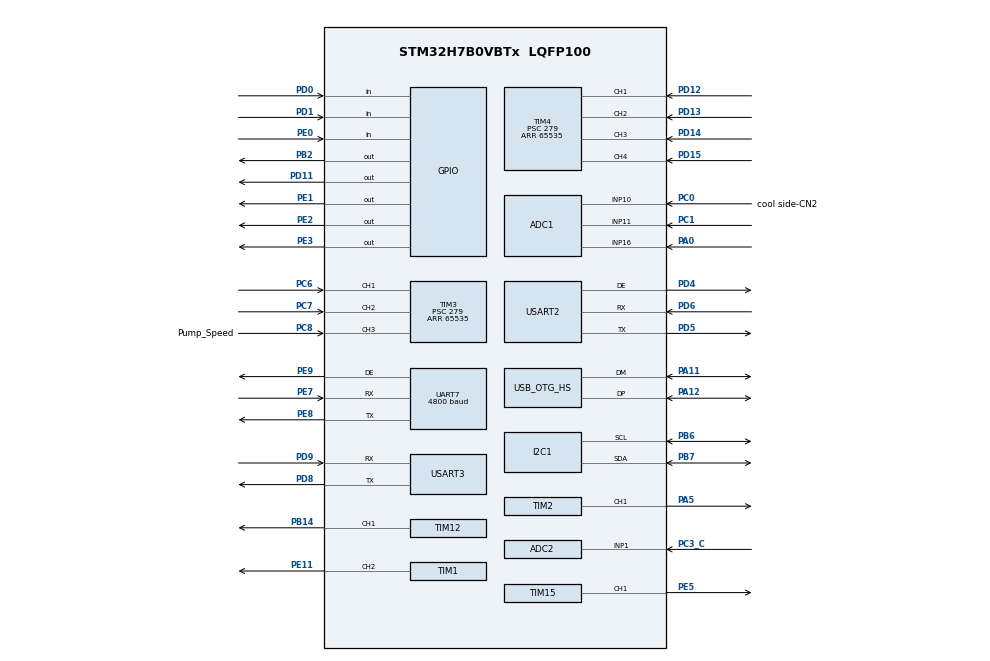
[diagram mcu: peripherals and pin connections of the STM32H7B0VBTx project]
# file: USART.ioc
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ADC1.Channel-0\#ChannelRegularConversion=ADC_CHANNEL_10
ADC1.Channel-1\#ChannelRegularConversion=ADC_CHANNEL_11
ADC1.Channel-2\#ChannelRegularConversion=ADC_CHANNEL_10
ADC1.DiscontinuousConvMode=ENABLE
ADC1.NbrOfConversion=3
ADC1.NbrOfConversionFlag=1
ADC1.OffsetNumber-0\#ChannelRegularConversion=ADC_OFFSET_NONE
ADC1.OffsetNumber-1\#ChannelRegularConversion=ADC_OFFSET_NONE
ADC1.OffsetNumber-2\#ChannelRegularConversion=ADC_OFFSET_NONE
ADC1.OffsetSignedSaturation-0\#ChannelRegularConversion=DISABLE
ADC1.OffsetSignedSaturation-1\#ChannelRegularConversion=DISABLE
ADC1.OffsetSignedSaturation-2\#ChannelRegularConversion=DISABLE
ADC1.Rank-0\#ChannelRegularConversion=1
ADC1.Rank-1\#ChannelRegularConversion=2
ADC1.Rank-2\#ChannelRegularConversion=3
ADC1.SamplingTime-0\#ChannelRegularConversion=ADC_SAMPLETIME_1CYCLE_5
ADC1.SamplingTime-1\#ChannelRegularConversion=ADC_SAMPLETIME_1CYCLE_5
ADC1.SamplingTime-2\#ChannelRegularConversion=ADC_SAMPLETIME_1CYCLE_5
ADC1.master=1
ADC2.Channel-1\#ChannelRegularConversion=ADC_CHANNEL_1
ADC2.NbrOfConversionFlag=1
ADC2.OffsetNumber-1\#ChannelRegularConversion=ADC_OFFSET_NONE
ADC2.OffsetSignedSaturation-1\#ChannelRegularConversion=DISABLE
ADC2.Rank-1\#ChannelRegularConversion=1
ADC2.SamplingTime-1\#ChannelRegularConversion=ADC_SAMPLETIME_1CYCLE_5
I2C1.Timing=0x20B0CCFF
Mcu.Family=STM32H7
Mcu.Name=STM32H7B0VBTx
Mcu.Package=LQFP100
NVIC.OTG_HS_IRQn=true\:0\:0\:false\:false\:true\:true\:true\:true
NVIC.PriorityGroup=NVIC_PRIORITYGROUP_4
NVIC.TIM3_IRQn=true\:1\:0\:true\:false\:true\:true\:true\:true
NVIC.TIM4_IRQn=true\:1\:0\:true\:false\:true\:true\:true\:true
NVIC.TIM5_IRQn=true\:0\:0\:false\:false\:true\:true\:true\:true
NVIC.TIM6_DAC_IRQn=true\:0\:0\:false\:false\:true\:true\:true\:true
NVIC.UART7_IRQn=true\:1\:0\:true\:false\:true\:true\:true\:true
NVIC.USART2_IRQn=true\:0\:0\:false\:false\:true\:true\:true\:true
NVIC.USART3_IRQn=true\:1\:0\:true\:false\:true\:true\:true\:true
PA0.Mode=IN16-Single-Ended
PA0.Signal=ADC1_INP16
PA11.Mode=Device_Only_FS
PA11.Signal=USB_OTG_HS_DM
PA12.Mode=Device_Only_FS
PA12.Signal=USB_OTG_HS_DP
PA13.Mode=Serial_Wire
PA13.Signal=DEBUG_JTMS-SWDIO
PA14.Mode=Serial_Wire
PA14.Signal=DEBUG_JTCK-SWCLK
PA5.Signal=S_TIM2_CH1_ETR
PB14.Signal=S_TIM12_CH1
PB2.GPIO_Speed=GPIO_SPEED_FREQ_VERY_HIGH
PB2.PinState=GPIO_PIN_SET
PB2.Signal=GPIO_Output
PB6.Mode=I2C
PB6.Signal=I2C1_SCL
PB7.Mode=I2C
PB7.Signal=I2C1_SDA
PC0.GPIO_Label=cool side-CN2
PC0.Signal=ADCx_INP10
PC1.Signal=ADCx_INP11
PC3_C.Mode=IN1-Single-Ended
PC3_C.Signal=ADC2_INP1
PC6.Signal=S_TIM3_CH1
PC7.Signal=S_TIM3_CH2
PC8.GPIO_Label=Pump_Speed
PC8.Signal=S_TIM3_CH3
PD0.Signal=GPIO_Input
PD1.Signal=GPIO_Input
PD11.Signal=GPIO_Output
PD12.Signal=S_TIM4_CH1
PD13.Signal=S_TIM4_CH2
PD14.Signal=S_TIM4_CH3
PD15.Signal=S_TIM4_CH4
PD4.Mode=Hardware Flow Control (RS485)
PD4.Signal=USART2_DE
PD5.Mode=Asynchronous
PD5.Signal=USART2_TX
PD6.Mode=Asynchronous
PD6.Signal=USART2_RX
PD8.Mode=Asynchronous
PD8.Signal=USART3_TX
PD9.Mode=Asynchronous
PD9.Signal=USART3_RX
PE0.Signal=GPIO_Input
PE1.Signal=GPIO_Output
PE11.Signal=S_TIM1_CH2
PE2.GPIO_Speed=GPIO_SPEED_FREQ_VERY_HIGH
PE2.PinState=GPIO_PIN_SET
PE2.Signal=GPIO_Output
PE3.Signal=GPIO_Output
PE5.Signal=S_TIM15_CH1
PE7.Mode=Asynchronous
PE7.Signal=UART7_RX
PE8.Mode=Asynchronous
PE8.Signal=UART7_TX
PE9.Mode=Hardware Flow Control (RS485)
PE9.Signal=UART7_DE
PH0-OSC_IN.Mode=HSE-External-Clock-Source
PH0-OSC_IN.Signal=RCC_OSC_IN
ProjectManager.HeapSize=0x200
ProjectManager.StackSize=0x400
ProjectManager.TargetToolchain=MDK-ARM V5.32
RCC.ADCFreq_Value=50000000
RCC.APB1Freq_Value=140000000
RCC.APB2Freq_Value=140000000
RCC.APB3Freq_Value=140000000
RCC.APB4Freq_Value=140000000
RCC.CDPPRE=RCC_APB3_DIV2
RCC.CDPPRE1=RCC_APB1_DIV2
RCC.CDPPRE2=RCC_APB2_DIV2
RCC.CortexFreq_Value=280000000
RCC.DIVM1=3
RCC.DIVM2=3
RCC.DIVM3=3
RCC.DIVN1=70
RCC.DIVN2=25
RCC.DIVN3=70
RCC.DIVP2=4
RCC.HCLKFreq_Value=280000000
RCC.PLL2FRACN=0
RCC.PLLFRACN=0
RCC.PLLSourceVirtual=RCC_PLLSOURCE_HSE
RCC.SRDPPRE=RCC_APB4_DIV2
RCC.SYSCLKFreq_VALUE=280000000
RCC.SYSCLKSource=RCC_SYSCLKSOURCE_PLLCLK
RCC.USBCLockSelection=RCC_USBCLKSOURCE_HSI48
RCC.USBFreq_Value=48000000
SH.ADCx_INP10.0=ADC1_INP10,IN10-Single-Ended
SH.ADCx_INP11.0=ADC1_INP11,IN11-Single-Ended
SH.S_TIM12_CH1.0=TIM12_CH1,PWM Generation1 CH1
SH.S_TIM15_CH1.0=TIM15_CH1,PWM Generation1 CH1
SH.S_TIM1_CH2.0=TIM1_CH2,PWM Generation2 CH2
SH.S_TIM2_CH1_ETR.0=TIM2_CH1,PWM Generation1 CH1
SH.S_TIM3_CH1.0=TIM3_CH1,Input_Capture1_from_TI1
SH.S_TIM3_CH2.0=TIM3_CH2,Input_Capture2_from_TI2
SH.S_TIM3_CH3.0=TIM3_CH3,Input_Capture3_from_TI3
SH.S_TIM4_CH1.0=TIM4_CH1,Input_Capture1_from_TI1
SH.S_TIM4_CH2.0=TIM4_CH2,Input_Capture2_from_TI2
SH.S_TIM4_CH3.0=TIM4_CH3,Input_Capture3_from_TI3
SH.S_TIM4_CH4.0=TIM4_CH4,Input_Capture4_from_TI4
TIM1.Channel-PWM\ Generation2\ CH2=TIM_CHANNEL_2
TIM1.Period=55999
TIM1.Prescaler=49
TIM1.Pulse-PWM\ Generation2\ CH2=100
TIM12.Channel-PWM\ Generation1\ CH1=TIM_CHANNEL_1
TIM12.Period=111
TIM12.Prescaler=99
TIM12.Pulse-PWM\ Generation1\ CH1=56
TIM15.Channel-PWM\ Generation1\ CH1=TIM_CHANNEL_1
TIM15.Period=28000
TIM15.Prescaler=20
TIM15.Pulse-PWM\ Generation1\ CH1=27999
TIM2.Channel-PWM\ Generation1\ CH1=TIM_CHANNEL_1
TIM2.Period=55999
TIM2.Prescaler=49
TIM2.Pulse-PWM\ Generation1\ CH1=100
TIM3.Channel-Input_Capture1_from_TI1=TIM_CHANNEL_1
TIM3.Channel-Input_Capture2_from_TI2=TIM_CHANNEL_2
TIM3.Channel-Input_Capture3_from_TI3=TIM_CHANNEL_3
TIM3.Period=65535
TIM3.Prescaler=279
TIM4.Channel-Input_Capture1_from_TI1=TIM_CHANNEL_1
TIM4.Channel-Input_Capture2_from_TI2=TIM_CHANNEL_2
TIM4.Channel-Input_Capture3_from_TI3=TIM_CHANNEL_3
TIM4.Channel-Input_Capture4_from_TI4=TIM_CHANNEL_4
TIM4.ICFilter_CH2=0
TIM4.Period=65535
TIM4.Prescaler=279
TIM5.AutoReloadPreload=TIM_AUTORELOAD_PRELOAD_ENABLE
TIM5.Period=279
TIM5.Prescaler=999
TIM6.AutoReloadPreload=TIM_AUTORELOAD_PRELOAD_ENABLE
TIM6.Period=10
TIM6.Prescaler=19999
UART7.BaudRate=4800
UART7.StopBits=UART_STOPBITS_2
USART2.VirtualMode-Asynchronous=VM_ASYNC
USART2.VirtualMode-Hardware\ Flow\ Control\ (RS485)=VM_ASYNC
USART3.VirtualMode-Asynchronous=VM_ASYNC
USB_DEVICE.CLASS_NAME_HS=CDC
USB_DEVICE.MANUFACTURER_STRING=ffcom
USB_DEVICE.PID_CDC_HS=0x5740
USB_DEVICE.PRODUCT_STRING_CDC_HS=FFcom
USB_DEVICE.VID=0x483
USB_DEVICE.VirtualMode=Cdc
USB_DEVICE.VirtualModeHS=Cdc_HS
USB_OTG_HS.VirtualMode-Device_Only_FS=Device_Only_FS
VP_TIM3_VS_ClockSourceINT.Mode=Internal
VP_TIM4_VS_ClockSourceINT.Mode=Internal
VP_TIM5_VS_ClockSourceINT.Mode=Internal
VP_TIM6_VS_ClockSourceINT.Mode=Enable_Timer
VP_USB_DEVICE_VS_USB_DEVICE_CDC_HS.Mode=CDC_HS
board=custom

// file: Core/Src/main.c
/* USER CODE BEGIN Header */
/**
  ******************************************************************************
  * @file           : main.c
  * @brief          : Main program body
  ******************************************************************************
  * @attention
  *
  * Copyright (c) 2023 STMicroelectronics.
  * All rights reserved.
  *
  * This software is licensed under terms that can be found in the LICENSE file
  * in the root directory of this software component.
  * If no LICENSE file comes with this software, it is provided AS-IS.
  *
  ******************************************************************************
  */
/* USER CODE END Header */
#include "main.h"
#include "usb_device.h"

/* USER CODE BEGIN Includes */
#include "cooling_ModBus_Protocol.h"
#include "TMS_ModBus_Protocol.h"
#include <stdio.h>
#include "string.h"
#include "stdint.h"
#include "stdarg.h"
/* USER CODE END Includes */

/* USER CODE BEGIN PM */

#if 1 //折叠系统代码
/* USER CODE END PM */

ADC_HandleTypeDef hadc1;
ADC_HandleTypeDef hadc2;

I2C_HandleTypeDef hi2c1;

TIM_HandleTypeDef htim1;
TIM_HandleTypeDef htim2;
TIM_HandleTypeDef htim3;
TIM_HandleTypeDef htim4;
TIM_HandleTypeDef htim5;
TIM_HandleTypeDef htim6;
TIM_HandleTypeDef htim12;
TIM_HandleTypeDef htim15;

UART_HandleTypeDef huart7;
UART_HandleTypeDef huart2;
UART_HandleTypeDef huart3;

/* USER CODE BEGIN PV */
#endif

#if 1 //折叠系统代码
/* USER CODE END PV */

void SystemClock_Config(void);
void PeriphCommonClock_Config(void);
static void MX_GPIO_Init(void);
static void MX_USART2_UART_Init(void);
static void MX_USART3_UART_Init(void);
static void MX_UART7_Init(void);
static void MX_ADC1_Init(void);
static void MX_I2C1_Init(void);
static void MX_TIM4_Init(void);
static void MX_TIM12_Init(void);
static void MX_ADC2_Init(void);
static void MX_TIM1_Init(void);
static void MX_TIM2_Init(void);
static void MX_TIM3_Init(void);
static void MX_TIM5_Init(void);
static void MX_TIM15_Init(void);
static void MX_TIM6_Init(void);
/* USER CODE BEGIN PFP */
#endif

/* USER CODE END PFP */

/* USER CODE BEGIN 0 */
/*USB 重新枚举函数*/
void USB_Reset(void)
{
  GPIO_InitTypeDef GPIO_InitStruct = {0};

  __HAL_RCC_GPIOA_CLK_ENABLE();

  GPIO_InitStruct.Pin = GPIO_PIN_12;
  GPIO_InitStruct.Mode = GPIO_MODE_OUTPUT_PP;
  GPIO_InitStruct.Pull = GPIO_NOPULL;
  GPIO_InitStruct.Speed = GPIO_SPEED_FREQ_LOW;
  HAL_GPIO_Init(GPIOA, &GPIO_InitStruct);

  HAL_GPIO_WritePin(GPIOA,GPIO_PIN_12,GPIO_PIN_RESET);
  HAL_Delay(100);
  HAL_GPIO_WritePin(GPIOA,GPIO_PIN_12,GPIO_PIN_SET);
}

// 串口中断回调
void HAL_UART_RxCpltCallback(UART_HandleTypeDef *huart)
{
  if (huart->Instance == Cooling_Handle->huart->Instance)
  {
    Cooling_Handle->RxCplt();

  }
  if (huart->Instance == TMS_Handle->huart->Instance)
  {
    TMS_Handle->RxCplt();

  }

}

/**
 * @brief  通过设置液冷CMD_Pack的目标温度，用于和液冷控制器真实温度判断是否一致，不一致则执行设置命令
 * @note
 * @param  temperature:
 * @retval None
 */
void SetCoollingTemperature(uint16_t temperature){
  Cooling_Handle->CMD_Pack.CoollingTargetTemp = temperature;
}

/**
 * @brief 将tms控制器中的数据更新到水冷控制器
 *
 *  将TMS的设定温度同步到液冷中
 *
 */
void TMS_Data2coolingData(){
  SetCoollingTemperature(TMS_Handle->targetTemperature * 100);
}
/**
 * @brief 将水冷控制器的数据更新到tms控制器中
 *
 *  当前液冷能提供给tms的只有运行状态、当前温度
 *
 */
void coolingData2TMS_Data(){
  TMS_Handle->TMS_PSD.TMSRunState = (Cooling_Handle->Cooling_PSD.CoolingRunState);
  TMS_Handle->TMS_PSD.TMSHighTempERR = (Cooling_Handle->Cooling_PSD.CoolingTempAlarm);
  TMS_Handle->TMS_PSD.TMSLiquidLevelERR = (Cooling_Handle->Cooling_PSD.CoolingLiquidLevelAlarm);
  TMS_Handle->currentTemperature = (Cooling_Handle->currentTemperature);
	TMS_Handle->modbusDataReloadFlag = 1;//TMS处理数据完成
}

/**
 * @brief 将tms控制器的数据更新到水冷控制器中
 *  配置液冷控制器的目标温度和运行状态，
 *
 */
void TMS_Data2cooling_Data(){
  Cooling_Handle->CMD_Pack.CoollingCMD = TMS_Handle->modbusReport.TMSRunState; // 设置液冷控制器的运行开关
  Cooling_Handle->CMD_Pack.PumpCMD = TMS_Handle->modbusReport.TMSRunState;
  Cooling_Handle->CMD_Pack.PressCMD = TMS_Handle->modbusReport.TMSRunState;
  SetCoollingTemperature(TMS_Handle->targetTemperature * 100); // 设置液冷控制器的运行开关
  printfln("Cooling_Handle->CMD_Pack.CoollingCMD \t=\t %d\r\n"
    "Cooling_Handle->CMD_Pack.PumpCMD \t=\t %d\r\n"
    "Cooling_Handle->CMD_Pack.PressCMD \t=\t %d\r\n"
    "Cooling_Handle->CMD_Pack.CoollingTargetTemp \t=\t %d\r\n"
    ,
    Cooling_Handle->CMD_Pack.CoollingCMD,
    Cooling_Handle->CMD_Pack.PumpCMD,
    Cooling_Handle->CMD_Pack.PressCMD,
    Cooling_Handle->CMD_Pack.CoollingTargetTemp

  );
}

/**
 * @brief 液冷控制器和tms控制器指令交互模块
 *        处理TMS发送来的所有指令，根据指令回复相应的数据，并设置水冷的具体控制内容
 *        处理完一次任务后清空控制标志，等待新任务。
 *
 */
void cooling_CMDfun(){
  switch (TMS_Handle->CMDCode){
    // 接收到停机指令，向水冷发送停机指令
    case CoolingCMDStop:
      printfln("CoolingCMDStop");
      Cooling_Handle->CMD_Pack.CoollingCMD = 0;
      Cooling_Handle->CMD_Pack.PumpCMD = 0;
      Cooling_Handle->CMD_Pack.PressCMD = 0;
      Cooling_Handle->CoolingWorkStatus = Cooling_CHECK_RunState;
      TMS_Handle->CMDCode = CoolingWait;
    break;

    // 接收到开机指令，向水冷发送开机指令
    case CoolingCMDStart:
      printfln("CoolingCMDStart");
      Cooling_Handle->CMD_Pack.CoollingCMD = 1;
      Cooling_Handle->CMD_Pack.PumpCMD = 1;
      Cooling_Handle->CMD_Pack.PressCMD = 1;
      Cooling_Handle->CoolingWorkStatus = Cooling_CHECK_RunState;

      TMS_Handle->CMDCode = CoolingWait;

    break;

    // 接收到设置温度指令，向水冷发送设置温度指令
    case CoolingSetTemp:
      printfln("CoolingSetTemp");
      SetCoollingTemperature(TMS_Handle->targetTemperature * 100);
      Cooling_Handle->CoolingWorkStatus = Cooling_SET_TEMP;
      TMS_Handle->CMDCode = CoolingWait;

    break;

    // 接收到获取信息指令，将水冷信息回传给TMS
    case CoolingGetData:
      printfln("CoolingGetData");
      TMS_Handle->reportAll();
      TMS_Handle->CMDCode = CoolingWait;

    break;

		// 接收到停止液泵指令
    case CoolingPumpStop:
      printfln("CoolingPumpStop");
      Cooling_Handle->CMD_Pack.PumpCMD = 0;
      TMS_Handle->CMDCode = CoolingWait;

    break;

		// 接收到启动液泵指令，
    case CoolingPumpStart:
      printfln("CoolingPumpStart");
      Cooling_Handle->CMD_Pack.PumpCMD = 1;

      TMS_Handle->CMDCode = CoolingWait;

    break;

		// 接收到停止压缩机指令
    case CoolingCompressorStop:
      printfln("CoolingCompressorStop");
      Cooling_Handle->CMD_Pack.PressCMD = 0;

      TMS_Handle->CMDCode = CoolingWait;

    break;

		// 接收到启动压缩机指令
    case CoolingCompressorStart:
      printfln("CoolingCompressorStart");
      Cooling_Handle->CMD_Pack.PressCMD = 1;

      TMS_Handle->CMDCode = CoolingWait;

    break;

    /**
     * @brief  接收设置所有寄存器指令
     * @todo 液冷状态应该由液冷控制器决定，而不是外部直接设定
     */
    case CoolingSetAll:
      printfln("CoolingSetAll");
      TMS_Data2cooling_Data();  // 根据TMS控制器的数据状态更新液冷控制器的对应寄存器
      Cooling_Handle->CoolingWorkStatus = Cooling_GET_STATE;
      TMS_Handle->CMDCode = CoolingWait;
    break;

		case CoolingWait:
    default:
      // TMS_Handle->CMDCode = CoolingWait;
    break;

  }
}

/* USER CODE END 0 */

int main(void)
{

  /* MCU Configuration--------------------------------------------------------*/

  /* Reset of all peripherals, Initializes the Flash interface and the Systick. */
  HAL_Init();

  /* Configure the system clock */
  SystemClock_Config();

/* Configure the peripherals common clocks */
  PeriphCommonClock_Config();

  /* USER CODE BEGIN SysInit */
  USB_Reset();

  #if 1 //折叠系统代码
  /* USER CODE END SysInit */

  /* Initialize all configured peripherals */
  MX_GPIO_Init();
  MX_USART2_UART_Init();
  MX_USART3_UART_Init();
  MX_UART7_Init();
  MX_ADC1_Init();
  MX_I2C1_Init();
  MX_TIM4_Init();
  MX_TIM12_Init();
  MX_ADC2_Init();
  MX_TIM1_Init();
  MX_TIM2_Init();
  MX_TIM3_Init();
  MX_TIM5_Init();
  MX_TIM15_Init();
  MX_USB_DEVICE_Init();
  MX_TIM6_Init();
  /* USER CODE BEGIN 2 */
  #endif

  CoolingCreate(&huart7);
  TMSCreate(&huart2);
  /* USER CODE END 2 */

  /* Infinite loop */
  /* USER CODE BEGIN WHILE */
  HAL_TIM_Base_Start_IT(&htim6);
  HAL_Delay(1);
  uint16_t counter = 0;
  while (1)
  {
    if (counter++ % 1000==0){
      cooling_CMDfun();
      coolingData2TMS_Data();
      TMS_Data2coolingData();

    }

    /* USER CODE END WHILE */

  }
}

void SystemClock_Config(void)
{
  RCC_OscInitTypeDef RCC_OscInitStruct = {0};
  RCC_ClkInitTypeDef RCC_ClkInitStruct = {0};

  /*AXI clock gating */
  RCC->CKGAENR = 0xFFFFFFFF;

  /** Supply configuration update enable
  */
  HAL_PWREx_ConfigSupply(PWR_LDO_SUPPLY);

  /** Configure the main internal regulator output voltage
  */
  __HAL_PWR_VOLTAGESCALING_CONFIG(PWR_REGULATOR_VOLTAGE_SCALE0);

  while(!__HAL_PWR_GET_FLAG(PWR_FLAG_VOSRDY)) {}

  /** Initializes the RCC Oscillators according to the specified parameters
  * in the RCC_OscInitTypeDef structure.
  */
  RCC_OscInitStruct.OscillatorType = RCC_OSCILLATORTYPE_HSI48|RCC_OSCILLATORTYPE_HSE;
  RCC_OscInitStruct.HSEState = RCC_HSE_BYPASS;
  RCC_OscInitStruct.HSI48State = RCC_HSI48_ON;
  RCC_OscInitStruct.PLL.PLLState = RCC_PLL_ON;
  RCC_OscInitStruct.PLL.PLLSource = RCC_PLLSOURCE_HSE;
  RCC_OscInitStruct.PLL.PLLM = 3;
  RCC_OscInitStruct.PLL.PLLN = 70;
  RCC_OscInitStruct.PLL.PLLP = 2;
  RCC_OscInitStruct.PLL.PLLQ = 2;
  RCC_OscInitStruct.PLL.PLLR = 2;
  RCC_OscInitStruct.PLL.PLLRGE = RCC_PLL1VCIRANGE_3;
  RCC_OscInitStruct.PLL.PLLVCOSEL = RCC_PLL1VCOWIDE;
  RCC_OscInitStruct.PLL.PLLFRACN = 0;
  if (HAL_RCC_OscConfig(&RCC_OscInitStruct) != HAL_OK)
  {
    Error_Handler();
  }

  /** Initializes the CPU, AHB and APB buses clocks
  */
  RCC_ClkInitStruct.ClockType = RCC_CLOCKTYPE_HCLK|RCC_CLOCKTYPE_SYSCLK
                              |RCC_CLOCKTYPE_PCLK1|RCC_CLOCKTYPE_PCLK2
                              |RCC_CLOCKTYPE_D3PCLK1|RCC_CLOCKTYPE_D1PCLK1;
  RCC_ClkInitStruct.SYSCLKSource = RCC_SYSCLKSOURCE_PLLCLK;
  RCC_ClkInitStruct.SYSCLKDivider = RCC_SYSCLK_DIV1;
  RCC_ClkInitStruct.AHBCLKDivider = RCC_HCLK_DIV1;
  RCC_ClkInitStruct.APB3CLKDivider = RCC_APB3_DIV2;
  RCC_ClkInitStruct.APB1CLKDivider = RCC_APB1_DIV2;
  RCC_ClkInitStruct.APB2CLKDivider = RCC_APB2_DIV2;
  RCC_ClkInitStruct.APB4CLKDivider = RCC_APB4_DIV2;

  if (HAL_RCC_ClockConfig(&RCC_ClkInitStruct, FLASH_LATENCY_7) != HAL_OK)
  {
    Error_Handler();
  }
}

void PeriphCommonClock_Config(void)
{
  RCC_PeriphCLKInitTypeDef PeriphClkInitStruct = {0};

  /** Initializes the peripherals clock
  */
  PeriphClkInitStruct.PeriphClockSelection = RCC_PERIPHCLK_ADC;
  PeriphClkInitStruct.PLL2.PLL2M = 3;
  PeriphClkInitStruct.PLL2.PLL2N = 25;
  PeriphClkInitStruct.PLL2.PLL2P = 4;
  PeriphClkInitStruct.PLL2.PLL2Q = 2;
  PeriphClkInitStruct.PLL2.PLL2R = 2;
  PeriphClkInitStruct.PLL2.PLL2RGE = RCC_PLL2VCIRANGE_3;
  PeriphClkInitStruct.PLL2.PLL2VCOSEL = RCC_PLL2VCOWIDE;
  PeriphClkInitStruct.PLL2.PLL2FRACN = 0;
  PeriphClkInitStruct.AdcClockSelection = RCC_ADCCLKSOURCE_PLL2;
  if (HAL_RCCEx_PeriphCLKConfig(&PeriphClkInitStruct) != HAL_OK)
  {
    Error_Handler();
  }
}

static void MX_ADC1_Init(void)
{

  ADC_MultiModeTypeDef multimode = {0};
  ADC_ChannelConfTypeDef sConfig = {0};

  /** Common config
  */
  hadc1.Instance = ADC1;
  hadc1.Init.ClockPrescaler = ADC_CLOCK_ASYNC_DIV1;
  hadc1.Init.Resolution = ADC_RESOLUTION_16B;
  hadc1.Init.ScanConvMode = ADC_SCAN_ENABLE;
  hadc1.Init.EOCSelection = ADC_EOC_SINGLE_CONV;
  hadc1.Init.LowPowerAutoWait = DISABLE;
  hadc1.Init.ContinuousConvMode = DISABLE;
  hadc1.Init.NbrOfConversion = 3;
  hadc1.Init.DiscontinuousConvMode = ENABLE;
  hadc1.Init.NbrOfDiscConversion = 1;
  hadc1.Init.ExternalTrigConv = ADC_SOFTWARE_START;
  hadc1.Init.ExternalTrigConvEdge = ADC_EXTERNALTRIGCONVEDGE_NONE;
  hadc1.Init.ConversionDataManagement = ADC_CONVERSIONDATA_DR;
  hadc1.Init.Overrun = ADC_OVR_DATA_PRESERVED;
  hadc1.Init.LeftBitShift = ADC_LEFTBITSHIFT_NONE;
  hadc1.Init.OversamplingMode = DISABLE;
  if (HAL_ADC_Init(&hadc1) != HAL_OK)
  {
    Error_Handler();
  }

  /** Configure the ADC multi-mode
  */
  multimode.Mode = ADC_MODE_INDEPENDENT;
  if (HAL_ADCEx_MultiModeConfigChannel(&hadc1, &multimode) != HAL_OK)
  {
    Error_Handler();
  }

  /** Configure Regular Channel
  */
  sConfig.Channel = ADC_CHANNEL_10;
  sConfig.Rank = ADC_REGULAR_RANK_1;
  sConfig.SamplingTime = ADC_SAMPLETIME_1CYCLE_5;
  sConfig.SingleDiff = ADC_SINGLE_ENDED;
  sConfig.OffsetNumber = ADC_OFFSET_NONE;
  sConfig.Offset = 0;
  sConfig.OffsetSignedSaturation = DISABLE;
  if (HAL_ADC_ConfigChannel(&hadc1, &sConfig) != HAL_OK)
  {
    Error_Handler();
  }

  /** Configure Regular Channel
  */
  sConfig.Channel = ADC_CHANNEL_11;
  sConfig.Rank = ADC_REGULAR_RANK_2;
  if (HAL_ADC_ConfigChannel(&hadc1, &sConfig) != HAL_OK)
  {
    Error_Handler();
  }

  /** Configure Regular Channel
  */
  sConfig.Channel = ADC_CHANNEL_10;
  sConfig.Rank = ADC_REGULAR_RANK_3;
  if (HAL_ADC_ConfigChannel(&hadc1, &sConfig) != HAL_OK)
  {
    Error_Handler();
  }

}

static void MX_ADC2_Init(void)
{

  ADC_ChannelConfTypeDef sConfig = {0};

  /** Common config
  */
  hadc2.Instance = ADC2;
  hadc2.Init.ClockPrescaler = ADC_CLOCK_ASYNC_DIV1;
  hadc2.Init.Resolution = ADC_RESOLUTION_16B;
  hadc2.Init.ScanConvMode = ADC_SCAN_DISABLE;
  hadc2.Init.EOCSelection = ADC_EOC_SINGLE_CONV;
  hadc2.Init.LowPowerAutoWait = DISABLE;
  hadc2.Init.ContinuousConvMode = DISABLE;
  hadc2.Init.NbrOfConversion = 1;
  hadc2.Init.DiscontinuousConvMode = DISABLE;
  hadc2.Init.ExternalTrigConv = ADC_SOFTWARE_START;
  hadc2.Init.ExternalTrigConvEdge = ADC_EXTERNALTRIGCONVEDGE_NONE;
  hadc2.Init.ConversionDataManagement = ADC_CONVERSIONDATA_DR;
  hadc2.Init.Overrun = ADC_OVR_DATA_PRESERVED;
  hadc2.Init.LeftBitShift = ADC_LEFTBITSHIFT_NONE;
  hadc2.Init.OversamplingMode = DISABLE;
  if (HAL_ADC_Init(&hadc2) != HAL_OK)
  {
    Error_Handler();
  }

  /** Configure Regular Channel
  */
  sConfig.Channel = ADC_CHANNEL_1;
  sConfig.Rank = ADC_REGULAR_RANK_1;
  sConfig.SamplingTime = ADC_SAMPLETIME_1CYCLE_5;
  sConfig.SingleDiff = ADC_SINGLE_ENDED;
  sConfig.OffsetNumber = ADC_OFFSET_NONE;
  sConfig.Offset = 0;
  sConfig.OffsetSignedSaturation = DISABLE;
  if (HAL_ADC_ConfigChannel(&hadc2, &sConfig) != HAL_OK)
  {
    Error_Handler();
  }

}

static void MX_I2C1_Init(void)
{

  hi2c1.Instance = I2C1;
  hi2c1.Init.Timing = 0x20B0CCFF;
  hi2c1.Init.OwnAddress1 = 0;
  hi2c1.Init.AddressingMode = I2C_ADDRESSINGMODE_7BIT;
  hi2c1.Init.DualAddressMode = I2C_DUALADDRESS_DISABLE;
  hi2c1.Init.OwnAddress2 = 0;
  hi2c1.Init.OwnAddress2Masks = I2C_OA2_NOMASK;
  hi2c1.Init.GeneralCallMode = I2C_GENERALCALL_DISABLE;
  hi2c1.Init.NoStretchMode = I2C_NOSTRETCH_DISABLE;
  if (HAL_I2C_Init(&hi2c1) != HAL_OK)
  {
    Error_Handler();
  }

  /** Configure Analogue filter
  */
  if (HAL_I2CEx_ConfigAnalogFilter(&hi2c1, I2C_ANALOGFILTER_ENABLE) != HAL_OK)
  {
    Error_Handler();
  }

  /** Configure Digital filter
  */
  if (HAL_I2CEx_ConfigDigitalFilter(&hi2c1, 0) != HAL_OK)
  {
    Error_Handler();
  }

}

static void MX_TIM1_Init(void)
{

  TIM_MasterConfigTypeDef sMasterConfig = {0};
  TIM_OC_InitTypeDef sConfigOC = {0};
  TIM_BreakDeadTimeConfigTypeDef sBreakDeadTimeConfig = {0};

  htim1.Instance = TIM1;
  htim1.Init.Prescaler = 49;
  htim1.Init.CounterMode = TIM_COUNTERMODE_UP;
  htim1.Init.Period = 55999;
  htim1.Init.ClockDivision = TIM_CLOCKDIVISION_DIV1;
  htim1.Init.RepetitionCounter = 0;
  htim1.Init.AutoReloadPreload = TIM_AUTORELOAD_PRELOAD_DISABLE;
  if (HAL_TIM_PWM_Init(&htim1) != HAL_OK)
  {
    Error_Handler();
  }
  sMasterConfig.MasterOutputTrigger = TIM_TRGO_RESET;
  sMasterConfig.MasterOutputTrigger2 = TIM_TRGO2_RESET;
  sMasterConfig.MasterSlaveMode = TIM_MASTERSLAVEMODE_DISABLE;
  if (HAL_TIMEx_MasterConfigSynchronization(&htim1, &sMasterConfig) != HAL_OK)
  {
    Error_Handler();
  }
  sConfigOC.OCMode = TIM_OCMODE_PWM1;
  sConfigOC.Pulse = 100;
  sConfigOC.OCPolarity = TIM_OCPOLARITY_HIGH;
  sConfigOC.OCNPolarity = TIM_OCNPOLARITY_HIGH;
  sConfigOC.OCFastMode = TIM_OCFAST_DISABLE;
  sConfigOC.OCIdleState = TIM_OCIDLESTATE_RESET;
  sConfigOC.OCNIdleState = TIM_OCNIDLESTATE_RESET;
  if (HAL_TIM_PWM_ConfigChannel(&htim1, &sConfigOC, TIM_CHANNEL_2) != HAL_OK)
  {
    Error_Handler();
  }
  sBreakDeadTimeConfig.OffStateRunMode = TIM_OSSR_DISABLE;
  sBreakDeadTimeConfig.OffStateIDLEMode = TIM_OSSI_DISABLE;
  sBreakDeadTimeConfig.LockLevel = TIM_LOCKLEVEL_OFF;
  sBreakDeadTimeConfig.DeadTime = 0;
  sBreakDeadTimeConfig.BreakState = TIM_BREAK_DISABLE;
  sBreakDeadTimeConfig.BreakPolarity = TIM_BREAKPOLARITY_HIGH;
  sBreakDeadTimeConfig.BreakFilter = 0;
  sBreakDeadTimeConfig.Break2State = TIM_BREAK2_DISABLE;
  sBreakDeadTimeConfig.Break2Polarity = TIM_BREAK2POLARITY_HIGH;
  sBreakDeadTimeConfig.Break2Filter = 0;
  sBreakDeadTimeConfig.AutomaticOutput = TIM_AUTOMATICOUTPUT_DISABLE;
  if (HAL_TIMEx_ConfigBreakDeadTime(&htim1, &sBreakDeadTimeConfig) != HAL_OK)
  {
    Error_Handler();
  }
  HAL_TIM_MspPostInit(&htim1);

}

static void MX_TIM2_Init(void)
{

  TIM_MasterConfigTypeDef sMasterConfig = {0};
  TIM_OC_InitTypeDef sConfigOC = {0};

  htim2.Instance = TIM2;
  htim2.Init.Prescaler = 49;
  htim2.Init.CounterMode = TIM_COUNTERMODE_UP;
  htim2.Init.Period = 55999;
  htim2.Init.ClockDivision = TIM_CLOCKDIVISION_DIV1;
  htim2.Init.AutoReloadPreload = TIM_AUTORELOAD_PRELOAD_DISABLE;
  if (HAL_TIM_PWM_Init(&htim2) != HAL_OK)
  {
    Error_Handler();
  }
  sMasterConfig.MasterOutputTrigger = TIM_TRGO_RESET;
  sMasterConfig.MasterSlaveMode = TIM_MASTERSLAVEMODE_DISABLE;
  if (HAL_TIMEx_MasterConfigSynchronization(&htim2, &sMasterConfig) != HAL_OK)
  {
    Error_Handler();
  }
  sConfigOC.OCMode = TIM_OCMODE_PWM1;
  sConfigOC.Pulse = 100;
  sConfigOC.OCPolarity = TIM_OCPOLARITY_HIGH;
  sConfigOC.OCFastMode = TIM_OCFAST_DISABLE;
  if (HAL_TIM_PWM_ConfigChannel(&htim2, &sConfigOC, TIM_CHANNEL_1) != HAL_OK)
  {
    Error_Handler();
  }
  HAL_TIM_MspPostInit(&htim2);

}

static void MX_TIM3_Init(void)
{

  TIM_ClockConfigTypeDef sClockSourceConfig = {0};
  TIM_MasterConfigTypeDef sMasterConfig = {0};
  TIM_IC_InitTypeDef sConfigIC = {0};

  htim3.Instance = TIM3;
  htim3.Init.Prescaler = 279;
  htim3.Init.CounterMode = TIM_COUNTERMODE_UP;
  htim3.Init.Period = 65535;
  htim3.Init.ClockDivision = TIM_CLOCKDIVISION_DIV1;
  htim3.Init.AutoReloadPreload = TIM_AUTORELOAD_PRELOAD_DISABLE;
  if (HAL_TIM_Base_Init(&htim3) != HAL_OK)
  {
    Error_Handler();
  }
  sClockSourceConfig.ClockSource = TIM_CLOCKSOURCE_INTERNAL;
  if (HAL_TIM_ConfigClockSource(&htim3, &sClockSourceConfig) != HAL_OK)
  {
    Error_Handler();
  }
  if (HAL_TIM_IC_Init(&htim3) != HAL_OK)
  {
    Error_Handler();
  }
  sMasterConfig.MasterOutputTrigger = TIM_TRGO_RESET;
  sMasterConfig.MasterSlaveMode = TIM_MASTERSLAVEMODE_DISABLE;
  if (HAL_TIMEx_MasterConfigSynchronization(&htim3, &sMasterConfig) != HAL_OK)
  {
    Error_Handler();
  }
  sConfigIC.ICPolarity = TIM_INPUTCHANNELPOLARITY_RISING;
  sConfigIC.ICSelection = TIM_ICSELECTION_DIRECTTI;
  sConfigIC.ICPrescaler = TIM_ICPSC_DIV1;
  sConfigIC.ICFilter = 0;
  if (HAL_TIM_IC_ConfigChannel(&htim3, &sConfigIC, TIM_CHANNEL_1) != HAL_OK)
  {
    Error_Handler();
  }
  if (HAL_TIM_IC_ConfigChannel(&htim3, &sConfigIC, TIM_CHANNEL_2) != HAL_OK)
  {
    Error_Handler();
  }
  if (HAL_TIM_IC_ConfigChannel(&htim3, &sConfigIC, TIM_CHANNEL_3) != HAL_OK)
  {
    Error_Handler();
  }

}

static void MX_TIM4_Init(void)
{

  TIM_ClockConfigTypeDef sClockSourceConfig = {0};
  TIM_MasterConfigTypeDef sMasterConfig = {0};
  TIM_IC_InitTypeDef sConfigIC = {0};

  htim4.Instance = TIM4;
  htim4.Init.Prescaler = 279;
  htim4.Init.CounterMode = TIM_COUNTERMODE_UP;
  htim4.Init.Period = 65535;
  htim4.Init.ClockDivision = TIM_CLOCKDIVISION_DIV1;
  htim4.Init.AutoReloadPreload = TIM_AUTORELOAD_PRELOAD_DISABLE;
  if (HAL_TIM_Base_Init(&htim4) != HAL_OK)
  {
    Error_Handler();
  }
  sClockSourceConfig.ClockSource = TIM_CLOCKSOURCE_INTERNAL;
  if (HAL_TIM_ConfigClockSource(&htim4, &sClockSourceConfig) != HAL_OK)
  {
    Error_Handler();
  }
  if (HAL_TIM_IC_Init(&htim4) != HAL_OK)
  {
    Error_Handler();
  }
  sMasterConfig.MasterOutputTrigger = TIM_TRGO_RESET;
  sMasterConfig.MasterSlaveMode = TIM_MASTERSLAVEMODE_DISABLE;
  if (HAL_TIMEx_MasterConfigSynchronization(&htim4, &sMasterConfig) != HAL_OK)
  {
    Error_Handler();
  }
  sConfigIC.ICPolarity = TIM_INPUTCHANNELPOLARITY_RISING;
  sConfigIC.ICSelection = TIM_ICSELECTION_DIRECTTI;
  sConfigIC.ICPrescaler = TIM_ICPSC_DIV1;
  sConfigIC.ICFilter = 0;
  if (HAL_TIM_IC_ConfigChannel(&htim4, &sConfigIC, TIM_CHANNEL_1) != HAL_OK)
  {
    Error_Handler();
  }
  if (HAL_TIM_IC_ConfigChannel(&htim4, &sConfigIC, TIM_CHANNEL_2) != HAL_OK)
  {
    Error_Handler();
  }
  if (HAL_TIM_IC_ConfigChannel(&htim4, &sConfigIC, TIM_CHANNEL_3) != HAL_OK)
  {
    Error_Handler();
  }
  if (HAL_TIM_IC_ConfigChannel(&htim4, &sConfigIC, TIM_CHANNEL_4) != HAL_OK)
  {
    Error_Handler();
  }

}

static void MX_TIM5_Init(void)
{

  TIM_ClockConfigTypeDef sClockSourceConfig = {0};
  TIM_MasterConfigTypeDef sMasterConfig = {0};

  htim5.Instance = TIM5;
  htim5.Init.Prescaler = 999;
  htim5.Init.CounterMode = TIM_COUNTERMODE_UP;
  htim5.Init.Period = 279;
  htim5.Init.ClockDivision = TIM_CLOCKDIVISION_DIV1;
  htim5.Init.AutoReloadPreload = TIM_AUTORELOAD_PRELOAD_ENABLE;
  if (HAL_TIM_Base_Init(&htim5) != HAL_OK)
  {
    Error_Handler();
  }
  sClockSourceConfig.ClockSource = TIM_CLOCKSOURCE_INTERNAL;
  if (HAL_TIM_ConfigClockSource(&htim5, &sClockSourceConfig) != HAL_OK)
  {
    Error_Handler();
  }
  sMasterConfig.MasterOutputTrigger = TIM_TRGO_RESET;
  sMasterConfig.MasterSlaveMode = TIM_MASTERSLAVEMODE_DISABLE;
  if (HAL_TIMEx_MasterConfigSynchronization(&htim5, &sMasterConfig) != HAL_OK)
  {
    Error_Handler();
  }

}

static void MX_TIM6_Init(void)
{

  TIM_MasterConfigTypeDef sMasterConfig = {0};

  htim6.Instance = TIM6;
  htim6.Init.Prescaler = 19999;
  htim6.Init.CounterMode = TIM_COUNTERMODE_UP;
  htim6.Init.Period = 10;
  htim6.Init.AutoReloadPreload = TIM_AUTORELOAD_PRELOAD_ENABLE;
  if (HAL_TIM_Base_Init(&htim6) != HAL_OK)
  {
    Error_Handler();
  }
  sMasterConfig.MasterOutputTrigger = TIM_TRGO_RESET;
  sMasterConfig.MasterSlaveMode = TIM_MASTERSLAVEMODE_DISABLE;
  if (HAL_TIMEx_MasterConfigSynchronization(&htim6, &sMasterConfig) != HAL_OK)
  {
    Error_Handler();
  }

}

static void MX_TIM12_Init(void)
{

  TIM_MasterConfigTypeDef sMasterConfig = {0};
  TIM_OC_InitTypeDef sConfigOC = {0};

  htim12.Instance = TIM12;
  htim12.Init.Prescaler = 99;
  htim12.Init.CounterMode = TIM_COUNTERMODE_UP;
  htim12.Init.Period = 111;
  htim12.Init.ClockDivision = TIM_CLOCKDIVISION_DIV1;
  htim12.Init.AutoReloadPreload = TIM_AUTORELOAD_PRELOAD_DISABLE;
  if (HAL_TIM_PWM_Init(&htim12) != HAL_OK)
  {
    Error_Handler();
  }
  sMasterConfig.MasterOutputTrigger = TIM_TRGO_RESET;
  sMasterConfig.MasterSlaveMode = TIM_MASTERSLAVEMODE_DISABLE;
  if (HAL_TIMEx_MasterConfigSynchronization(&htim12, &sMasterConfig) != HAL_OK)
  {
    Error_Handler();
  }
  sConfigOC.OCMode = TIM_OCMODE_PWM1;
  sConfigOC.Pulse = 56;
  sConfigOC.OCPolarity = TIM_OCPOLARITY_HIGH;
  sConfigOC.OCFastMode = TIM_OCFAST_DISABLE;
  if (HAL_TIM_PWM_ConfigChannel(&htim12, &sConfigOC, TIM_CHANNEL_1) != HAL_OK)
  {
    Error_Handler();
  }
  HAL_TIM_MspPostInit(&htim12);

}

static void MX_TIM15_Init(void)
{

  TIM_MasterConfigTypeDef sMasterConfig = {0};
  TIM_OC_InitTypeDef sConfigOC = {0};
  TIM_BreakDeadTimeConfigTypeDef sBreakDeadTimeConfig = {0};

  htim15.Instance = TIM15;
  htim15.Init.Prescaler = 20;
  htim15.Init.CounterMode = TIM_COUNTERMODE_UP;
  htim15.Init.Period = 28000;
  htim15.Init.ClockDivision = TIM_CLOCKDIVISION_DIV1;
  htim15.Init.RepetitionCounter = 0;
  htim15.Init.AutoReloadPreload = TIM_AUTORELOAD_PRELOAD_DISABLE;
  if (HAL_TIM_PWM_Init(&htim15) != HAL_OK)
  {
    Error_Handler();
  }
  sMasterConfig.MasterOutputTrigger = TIM_TRGO_RESET;
  sMasterConfig.MasterSlaveMode = TIM_MASTERSLAVEMODE_DISABLE;
  if (HAL_TIMEx_MasterConfigSynchronization(&htim15, &sMasterConfig) != HAL_OK)
  {
    Error_Handler();
  }
  sConfigOC.OCMode = TIM_OCMODE_PWM1;
  sConfigOC.Pulse = 27999;
  sConfigOC.OCPolarity = TIM_OCPOLARITY_HIGH;
  sConfigOC.OCNPolarity = TIM_OCNPOLARITY_HIGH;
  sConfigOC.OCFastMode = TIM_OCFAST_DISABLE;
  sConfigOC.OCIdleState = TIM_OCIDLESTATE_RESET;
  sConfigOC.OCNIdleState = TIM_OCNIDLESTATE_RESET;
  if (HAL_TIM_PWM_ConfigChannel(&htim15, &sConfigOC, TIM_CHANNEL_1) != HAL_OK)
  {
    Error_Handler();
  }
  sBreakDeadTimeConfig.OffStateRunMode = TIM_OSSR_DISABLE;
  sBreakDeadTimeConfig.OffStateIDLEMode = TIM_OSSI_DISABLE;
  sBreakDeadTimeConfig.LockLevel = TIM_LOCKLEVEL_OFF;
  sBreakDeadTimeConfig.DeadTime = 0;
  sBreakDeadTimeConfig.BreakState = TIM_BREAK_DISABLE;
  sBreakDeadTimeConfig.BreakPolarity = TIM_BREAKPOLARITY_HIGH;
  sBreakDeadTimeConfig.BreakFilter = 0;
  sBreakDeadTimeConfig.AutomaticOutput = TIM_AUTOMATICOUTPUT_DISABLE;
  if (HAL_TIMEx_ConfigBreakDeadTime(&htim15, &sBreakDeadTimeConfig) != HAL_OK)
  {
    Error_Handler();
  }
  HAL_TIM_MspPostInit(&htim15);

}

static void MX_UART7_Init(void)
{

  huart7.Instance = UART7;
  huart7.Init.BaudRate = 4800;
  huart7.Init.WordLength = UART_WORDLENGTH_8B;
  huart7.Init.StopBits = UART_STOPBITS_2;
  huart7.Init.Parity = UART_PARITY_NONE;
  huart7.Init.Mode = UART_MODE_TX_RX;
  huart7.Init.HwFlowCtl = UART_HWCONTROL_NONE;
  huart7.Init.OverSampling = UART_OVERSAMPLING_16;
  huart7.Init.OneBitSampling = UART_ONE_BIT_SAMPLE_DISABLE;
  huart7.Init.ClockPrescaler = UART_PRESCALER_DIV1;
  huart7.AdvancedInit.AdvFeatureInit = UART_ADVFEATURE_NO_INIT;
  if (HAL_RS485Ex_Init(&huart7, UART_DE_POLARITY_HIGH, 0, 0) != HAL_OK)
  {
    Error_Handler();
  }
  if (HAL_UARTEx_SetTxFifoThreshold(&huart7, UART_TXFIFO_THRESHOLD_1_8) != HAL_OK)
  {
    Error_Handler();
  }
  if (HAL_UARTEx_SetRxFifoThreshold(&huart7, UART_RXFIFO_THRESHOLD_1_8) != HAL_OK)
  {
    Error_Handler();
  }
  if (HAL_UARTEx_DisableFifoMode(&huart7) != HAL_OK)
  {
    Error_Handler();
  }

}

static void MX_USART2_UART_Init(void)
{

  huart2.Instance = USART2;
  huart2.Init.BaudRate = 115200;
  huart2.Init.WordLength = UART_WORDLENGTH_8B;
  huart2.Init.StopBits = UART_STOPBITS_1;
  huart2.Init.Parity = UART_PARITY_NONE;
  huart2.Init.Mode = UART_MODE_TX_RX;
  huart2.Init.HwFlowCtl = UART_HWCONTROL_NONE;
  huart2.Init.OverSampling = UART_OVERSAMPLING_16;
  huart2.Init.OneBitSampling = UART_ONE_BIT_SAMPLE_DISABLE;
  huart2.Init.ClockPrescaler = UART_PRESCALER_DIV1;
  huart2.AdvancedInit.AdvFeatureInit = UART_ADVFEATURE_NO_INIT;
  if (HAL_RS485Ex_Init(&huart2, UART_DE_POLARITY_HIGH, 0, 0) != HAL_OK)
  {
    Error_Handler();
  }
  if (HAL_UARTEx_SetTxFifoThreshold(&huart2, UART_TXFIFO_THRESHOLD_1_8) != HAL_OK)
  {
    Error_Handler();
  }
  if (HAL_UARTEx_SetRxFifoThreshold(&huart2, UART_RXFIFO_THRESHOLD_1_8) != HAL_OK)
  {
    Error_Handler();
  }
  if (HAL_UARTEx_DisableFifoMode(&huart2) != HAL_OK)
  {
    Error_Handler();
  }

}

static void MX_USART3_UART_Init(void)
{

  huart3.Instance = USART3;
  huart3.Init.BaudRate = 115200;
  huart3.Init.WordLength = UART_WORDLENGTH_8B;
  huart3.Init.StopBits = UART_STOPBITS_1;
  huart3.Init.Parity = UART_PARITY_NONE;
  huart3.Init.Mode = UART_MODE_TX_RX;
  huart3.Init.HwFlowCtl = UART_HWCONTROL_NONE;
  huart3.Init.OverSampling = UART_OVERSAMPLING_16;
  huart3.Init.OneBitSampling = UART_ONE_BIT_SAMPLE_DISABLE;
  huart3.Init.ClockPrescaler = UART_PRESCALER_DIV1;
  huart3.AdvancedInit.AdvFeatureInit = UART_ADVFEATURE_NO_INIT;
  if (HAL_UART_Init(&huart3) != HAL_OK)
  {
    Error_Handler();
  }
  if (HAL_UARTEx_SetTxFifoThreshold(&huart3, UART_TXFIFO_THRESHOLD_1_8) != HAL_OK)
  {
    Error_Handler();
  }
  if (HAL_UARTEx_SetRxFifoThreshold(&huart3, UART_RXFIFO_THRESHOLD_1_8) != HAL_OK)
  {
    Error_Handler();
  }
  if (HAL_UARTEx_DisableFifoMode(&huart3) != HAL_OK)
  {
    Error_Handler();
  }

}

static void MX_GPIO_Init(void)
{
  GPIO_InitTypeDef GPIO_InitStruct = {0};

  /* GPIO Ports Clock Enable */
  __HAL_RCC_GPIOE_CLK_ENABLE();
  __HAL_RCC_GPIOH_CLK_ENABLE();
  __HAL_RCC_GPIOC_CLK_ENABLE();
  __HAL_RCC_GPIOA_CLK_ENABLE();
  __HAL_RCC_GPIOB_CLK_ENABLE();
  __HAL_RCC_GPIOD_CLK_ENABLE();

  /*Configure GPIO pin Output Level */
  HAL_GPIO_WritePin(GPIOE, GPIO_PIN_2, GPIO_PIN_SET);

  /*Configure GPIO pin Output Level */
  HAL_GPIO_WritePin(GPIOE, GPIO_PIN_3|GPIO_PIN_1, GPIO_PIN_RESET);

  /*Configure GPIO pin Output Level */
  HAL_GPIO_WritePin(GPIOB, GPIO_PIN_2, GPIO_PIN_SET);

  /*Configure GPIO pin Output Level */
  HAL_GPIO_WritePin(GPIOD, GPIO_PIN_11, GPIO_PIN_RESET);

  /*Configure GPIO pin : PE2 */
  GPIO_InitStruct.Pin = GPIO_PIN_2;
  GPIO_InitStruct.Mode = GPIO_MODE_OUTPUT_PP;
  GPIO_InitStruct.Pull = GPIO_NOPULL;
  GPIO_InitStruct.Speed = GPIO_SPEED_FREQ_VERY_HIGH;
  HAL_GPIO_Init(GPIOE, &GPIO_InitStruct);

  /*Configure GPIO pins : PE3 PE1 */
  GPIO_InitStruct.Pin = GPIO_PIN_3|GPIO_PIN_1;
  GPIO_InitStruct.Mode = GPIO_MODE_OUTPUT_PP;
  GPIO_InitStruct.Pull = GPIO_NOPULL;
  GPIO_InitStruct.Speed = GPIO_SPEED_FREQ_LOW;
  HAL_GPIO_Init(GPIOE, &GPIO_InitStruct);

  /*Configure GPIO pin : PB2 */
  GPIO_InitStruct.Pin = GPIO_PIN_2;
  GPIO_InitStruct.Mode = GPIO_MODE_OUTPUT_PP;
  GPIO_InitStruct.Pull = GPIO_NOPULL;
  GPIO_InitStruct.Speed = GPIO_SPEED_FREQ_VERY_HIGH;
  HAL_GPIO_Init(GPIOB, &GPIO_InitStruct);

  /*Configure GPIO pin : PD11 */
  GPIO_InitStruct.Pin = GPIO_PIN_11;
  GPIO_InitStruct.Mode = GPIO_MODE_OUTPUT_PP;
  GPIO_InitStruct.Pull = GPIO_NOPULL;
  GPIO_InitStruct.Speed = GPIO_SPEED_FREQ_LOW;
  HAL_GPIO_Init(GPIOD, &GPIO_InitStruct);

  /*Configure GPIO pins : PD0 PD1 */
  GPIO_InitStruct.Pin = GPIO_PIN_0|GPIO_PIN_1;
  GPIO_InitStruct.Mode = GPIO_MODE_INPUT;
  GPIO_InitStruct.Pull = GPIO_NOPULL;
  HAL_GPIO_Init(GPIOD, &GPIO_InitStruct);

  /*Configure GPIO pin : PE0 */
  GPIO_InitStruct.Pin = GPIO_PIN_0;
  GPIO_InitStruct.Mode = GPIO_MODE_INPUT;
  GPIO_InitStruct.Pull = GPIO_NOPULL;
  HAL_GPIO_Init(GPIOE, &GPIO_InitStruct);

}

void Error_Handler(void)
{
  __disable_irq();
  while (1)
  {
  }
}
